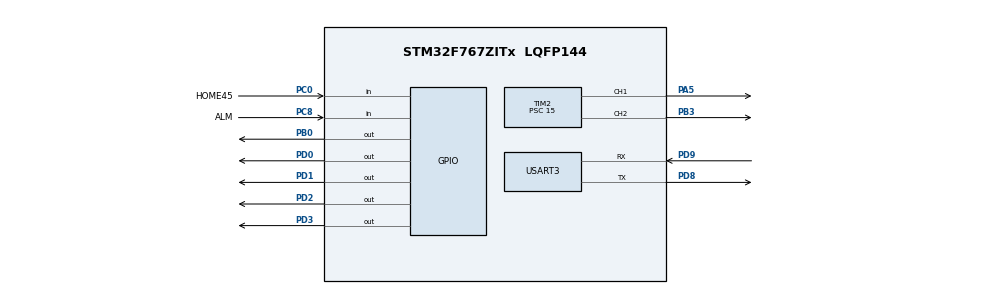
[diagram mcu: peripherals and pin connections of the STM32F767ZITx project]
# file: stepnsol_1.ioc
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CORTEX_M7.default_mode_Activation=1
Mcu.Family=STM32F7
Mcu.Name=STM32F767ZITx
Mcu.Package=LQFP144
NVIC.PriorityGroup=NVIC_PRIORITYGROUP_4
NVIC.TIM2_IRQn=true\:0\:0\:false\:false\:true\:true\:true\:true
NVIC.USART3_IRQn=true\:0\:0\:false\:false\:true\:true\:true\:true
PA13.Mode=Serial_Wire
PA13.Signal=SYS_JTMS-SWDIO
PA14.Mode=Serial_Wire
PA14.Signal=SYS_JTCK-SWCLK
PA5.Signal=S_TIM2_CH1_ETR
PB0.GPIO_PuPd=GPIO_NOPULL
PB0.GPIO_Speed=GPIO_SPEED_FREQ_LOW
PB0.Signal=GPIO_Output
PB3.Signal=S_TIM2_CH2
PC0.GPIO_Label=HOME45
PC0.Signal=GPIO_Input
PC8.GPIO_Label=ALM
PC8.GPIO_PuPd=GPIO_PULLUP
PC8.Signal=GPIO_Input
PD0.GPIO_ModeDefaultOutputPP=GPIO_MODE_OUTPUT_PP
PD0.GPIO_PuPd=GPIO_NOPULL
PD0.GPIO_Speed=GPIO_SPEED_FREQ_LOW
PD0.PinState=GPIO_PIN_RESET
PD0.Signal=GPIO_Output
PD1.GPIO_ModeDefaultOutputPP=GPIO_MODE_OUTPUT_PP
PD1.GPIO_PuPd=GPIO_NOPULL
PD1.GPIO_Speed=GPIO_SPEED_FREQ_LOW
PD1.PinState=GPIO_PIN_RESET
PD1.Signal=GPIO_Output
PD2.GPIO_ModeDefaultOutputPP=GPIO_MODE_OUTPUT_PP
PD2.GPIO_PuPd=GPIO_NOPULL
PD2.GPIO_Speed=GPIO_SPEED_FREQ_LOW
PD2.PinState=GPIO_PIN_RESET
PD2.Signal=GPIO_Output
PD3.GPIO_ModeDefaultOutputPP=GPIO_MODE_OUTPUT_PP
PD3.GPIO_PuPd=GPIO_NOPULL
PD3.GPIO_Speed=GPIO_SPEED_FREQ_LOW
PD3.PinState=GPIO_PIN_RESET
PD3.Signal=GPIO_Output
PD8.Mode=Asynchronous
PD8.Signal=USART3_TX
PD9.Mode=Asynchronous
PD9.Signal=USART3_RX
PH0/OSC_IN.Mode=HSE-External-Clock-Source
PH0/OSC_IN.Signal=RCC_OSC_IN
PH1/OSC_OUT.Mode=HSE-External-Clock-Source
PH1/OSC_OUT.Signal=RCC_OSC_OUT
ProjectManager.HeapSize=0x200
ProjectManager.StackSize=0x400
ProjectManager.TargetToolchain=STM32CubeIDE
RCC.HSE_VALUE=25000000
RCC.HSI_VALUE=16000000
RCC.LSE_VALUE=32768
RCC.USBFreq_Value=96000000
RCC.VCOOutputFreq_Value=192000000
SH.S_TIM2_CH1_ETR.0=TIM2_CH1,PWM Generation1 CH1
SH.S_TIM2_CH2.0=TIM2_CH2,PWM Generation2 CH2
TIM2.Channel-PWM\ Generation1\ CH1=TIM_CHANNEL_1
TIM2.Channel-PWM\ Generation2\ CH2=TIM_CHANNEL_2
TIM2.Period=3999
TIM2.Prescaler=15
USART3.VirtualMode-Asynchronous=VM_ASYNC
board=custom

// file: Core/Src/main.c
/* USER CODE BEGIN Header */
/**
  ******************************************************************************
  * @file           : main.c
  * @brief          : Main program body
  ******************************************************************************
  * @attention
  *
  * Copyright (c) 2026 STMicroelectronics.
  * All rights reserved.
  *
  * This software is licensed under terms that can be found in the LICENSE file
  * in the root directory of this software component.
  * If no LICENSE file comes with this software, it is provided AS-IS.
  *
  ******************************************************************************
  */
/* USER CODE END Header */
#include "main.h"

/* USER CODE BEGIN Includes */
#include <string.h>
#include <stdlib.h>
#include <stdio.h>
/* USER CODE END Includes */

/* USER CODE BEGIN PD */
#define ELEV_MAX_PULSE      950

#define HOME_BACKOFF_STEPS  300
#define HOME_SEARCH_STEPS   1500

#define HOME_EXTRA_BACKOFF_STEPS  300

#define HOME_PHASE_IDLE           0
#define HOME_PHASE_BACKOFF        1
#define HOME_PHASE_EXTRA_BACKOFF  2
#define HOME_PHASE_SEARCH         3
/* USER CODE END PD */

TIM_HandleTypeDef htim2;

UART_HandleTypeDef huart3;

/* USER CODE BEGIN PV */
volatile uint8_t fire_flag = 0;

volatile int32_t m0_pos = 0;
volatile uint8_t m0_homed = 0;
volatile uint8_t m0_homing = 0;
volatile uint8_t m0_home_phase = HOME_PHASE_IDLE;

volatile uint8_t home_done_flag = 0;
volatile uint8_t home_fail_flag = 0;
/* USER CODE END PV */

void SystemClock_Config(void);
static void MPU_Config(void);
static void MX_GPIO_Init(void);
static void MX_TIM2_Init(void);
static void MX_USART3_UART_Init(void);
/* USER CODE BEGIN PFP */

typedef struct {
  volatile uint32_t target_steps;
  volatile uint32_t done_steps;
  volatile uint8_t  running;
  volatile int8_t   dir_sign;   // +1: POS 증가(M0-), -1: POS 감소(M0+)
} StepperState;

static StepperState s0 = {0}, s1 = {0};

static void motor0_start(uint32_t steps, uint8_t dir);

/* -----------------------------------------------------------------------
 * UART 송신 헬퍼
 * ACK/NAK/ERR 응답을 ROS2 로 전송.
 * HAL_UART_Transmit 블로킹(timeout 10ms) — 응답 문자열은 짧으므로 충분.
 * ----------------------------------------------------------------------- */
static void uart_send(const char *msg)
{
    HAL_UART_Transmit(&huart3,
                      (uint8_t *)msg,
                      (uint16_t)strlen(msg),
                      10);
}

static uint8_t home45_read(void)
{
    return (HAL_GPIO_ReadPin(GPIOC, GPIO_PIN_0) == GPIO_PIN_SET) ? 1 : 0;
}

static uint8_t inp_read(void)
{
    /*
     * CS-D508 ALM output = In Position
     * ALM- = GND
     * ALM+ = PC8(ALM_Pin)
     * GPIO internal pull-up 사용
     *
     * 예상 논리:
     *   In Position 활성   → ALM 출력 ON  → GPIO LOW  → INP=1
     *   In Position 비활성 → ALM 출력 OFF → GPIO HIGH → INP=0
     */
    return (HAL_GPIO_ReadPin(ALM_GPIO_Port, ALM_Pin) == GPIO_PIN_RESET) ? 1 : 0;
}

static void home_start_backoff(void)
{
    /*
     * M0- : 랙 길이 증가, 홈에서 벗어나는 방향
     */
    m0_homing = 1;
    m0_home_phase = HOME_PHASE_BACKOFF;
    motor0_start(HOME_BACKOFF_STEPS, 0);  // dir=0 → M0-
}

static void home_start_search(void)
{
    /*
     * M0+ : 랙 길이 감소, 홈으로 접근하는 방향
     */
    m0_homing = 1;
    m0_home_phase = HOME_PHASE_SEARCH;
    motor0_start(HOME_SEARCH_STEPS, 1);   // dir=1 → M0+
}

static void home_start_extra_backoff(void)
{
    /*
     * HOME45=0이 된 뒤에도 M0- 방향으로 조금 더 이동해서
     * 센서 감지 구간을 확실히 벗어난다.
     */
    m0_homing = 1;
    m0_home_phase = HOME_PHASE_EXTRA_BACKOFF;
    motor0_start(HOME_EXTRA_BACKOFF_STEPS, 0);  // dir=0 → M0-
}

static void status_send(void)
{
    char buf[220];

    snprintf(buf, sizeof(buf),
             "POS=%ld HOMED=%u HOMING=%u PHASE=%u M0RUN=%u HOME45=%u INP=%u TARGET=%lu DONE=%lu MAX=%ld\r\n",
             (long)m0_pos,
             (unsigned int)m0_homed,
             (unsigned int)m0_homing,
             (unsigned int)m0_home_phase,
             (unsigned int)s0.running,
             (unsigned int)home45_read(),
             (unsigned int)inp_read(),
             (unsigned long)s0.target_steps,
             (unsigned long)s0.done_steps,
             (long)ELEV_MAX_PULSE);

    uart_send(buf);
}

static void motor0_start(uint32_t steps, uint8_t dir)
{
  s0.target_steps = steps;
  s0.done_steps   = 0;
  s0.running      = 1;
  s0.dir_sign = dir ? -1 : 1;

  /* DIR (dir=1 정방향, 0 역방향) */
  HAL_GPIO_WritePin(GPIOD, GPIO_PIN_0, dir ? GPIO_PIN_SET : GPIO_PIN_RESET);

  /* ENA 활성화 (LOW = enable) */
  HAL_GPIO_WritePin(GPIOD, GPIO_PIN_1, GPIO_PIN_RESET);

  HAL_TIM_PWM_Start(&htim2, TIM_CHANNEL_1);
  HAL_TIM_Base_Start_IT(&htim2);
}

static void motor1_start(uint32_t steps, uint8_t dir)
{
  s1.target_steps = steps;
  s1.done_steps   = 0;
  s1.running      = 1;

  HAL_GPIO_WritePin(GPIOD, GPIO_PIN_2, dir ? GPIO_PIN_SET : GPIO_PIN_RESET);
  HAL_GPIO_WritePin(GPIOD, GPIO_PIN_3, GPIO_PIN_RESET);

  HAL_TIM_PWM_Start(&htim2, TIM_CHANNEL_2);
  HAL_TIM_Base_Start_IT(&htim2);
}

static void motor0_stop(void)
{
  HAL_TIM_PWM_Stop(&htim2, TIM_CHANNEL_1);

  /*
   * 일반 M0 이동일 때만 POS 갱신.
   * HOME0 동작 중에는 센서 감지 후 POS=0으로 직접 설정하므로
   * 여기서 done_steps를 POS에 반영하지 않는다.
   */
  if (s0.running && !m0_homing) {
    if (s0.dir_sign > 0) {
      m0_pos += (int32_t)s0.done_steps;
    } else {
      m0_pos -= (int32_t)s0.done_steps;
    }
  }

  s0.running = 0;
}

static void motor1_stop(void)
{
  HAL_TIM_PWM_Stop(&htim2, TIM_CHANNEL_2);
  s1.running = 0;
}

static uint8_t rx_ch;
static char rx_line[32];
static uint8_t rx_pos = 0;

static void uart_rx_line_reset(void)
{
  rx_pos = 0;
  memset(rx_line, 0, sizeof(rx_line));
}

/* -----------------------------------------------------------------------
 * handle_line : 수신된 한 줄 명령 처리 + ACK/NAK 응답
 *
 * 응답 형식 (ROS2 turret_control_node 와 약속):
 *   ACK M0\n   — M0 명령 정상 처리 시작
 *   ACK M1\n   — M1 명령 정상 처리 시작
 *   ACK STOP\n — STOP 정상 처리
 *   ACK FIRE\n — FIRE 정상 수신 (솔레노이드 구동은 main loop에서)
 *   NAK BUSY\n — 해당 모터가 이미 동작 중
 *   NAK FORMAT\n — 명령 형식 오류 (파싱 불가)
 * ----------------------------------------------------------------------- */
static void handle_line(const char *line)
{
  /* SYNC / FLUSH */
  if (strcmp(line, "SYNC") == 0 || strcmp(line, "FLUSH") == 0) {
	uart_rx_line_reset();
	uart_send("ACK SYNC\n");
	return;
  }

  /* STATUS */
  if (strcmp(line, "STATUS") == 0) {
	status_send();
	return;
  }

  /* ── HOME0 ───────────────────────────────────────────────────────── */
  if (strcmp(line, "HOME0") == 0) {
    if (s0.running) {
      uart_send("NAK BUSY\n");
      return;
    }

    /*
     * HOME0 시작:
     * - 현재 HOME45=1이면 먼저 M0- 방향으로 살짝 빠져서 HOME45=0을 만든다.
     * - 현재 HOME45=0이면 바로 M0+ 방향으로 접근한다.
     */
    m0_homed = 0;
    m0_homing = 1;
    m0_home_phase = HOME_PHASE_IDLE;
    home_done_flag = 0;
    home_fail_flag = 0;

    if (home45_read()) {
      home_start_backoff();
    } else {
      home_start_search();
    }

    uart_send("ACK HOME0\n");
    return;
  }

  /* ── STOP ─────────────────────────────────────────────────────────── */
  if (strcmp(line, "STOP") == 0) {
    motor0_stop();
    motor1_stop();

    if (m0_homing) {
      m0_homing = 0;
      m0_home_phase = HOME_PHASE_IDLE;
      m0_homed = 0;
    }

    uart_send("ACK STOP\n");
    return;
  }

  /* ── FIRE ─────────────────────────────────────────────────────────── */
  if (strcmp(line, "FIRE") == 0) {
    fire_flag = 1;
    uart_send("ACK FIRE\n");
    return;
  }

  /* ── M0 / M1 ──────────────────────────────────────────────────────── */
  if (line[0] == 'M' && (line[1] == '0' || line[1] == '1')) {

    /* 부호 문자 확인 — '+' 또는 '-' 없으면 형식 오류 */
    if (line[2] != '+' && line[2] != '-') {
      uart_send("NAK FORMAT\n");
      return;
    }

    int idx  = line[1] - '0';
    int val  = atoi(line + 2);   /* "+1000" / "-250" 파싱 */

    uint8_t  dir   = (val >= 0) ? 1 : 0;
    uint32_t steps = (val >= 0) ? (uint32_t)val : (uint32_t)(-val);

    if (idx == 0) {
      if (s0.running) {
        uart_send("NAK BUSY\n");
        return;
      }

      /* 소프트웨어 리밋 체크 */
      if (steps > 0) {
        int32_t next_pos;

        if (dir) {
          /* M0+ : 랙 길이 감소, 홈 방향, POS 감소 */
          next_pos = m0_pos - (int32_t)steps;
        } else {
          /* M0- : 랙 길이 증가, 홈에서 멀어지는 방향, POS 증가 */
          next_pos = m0_pos + (int32_t)steps;
        }

        if (next_pos < 0) {
          uart_send("NAK LIMIT_MIN\n");
          return;
        }

        if (next_pos > ELEV_MAX_PULSE) {
          uart_send("NAK LIMIT_MAX\n");
          return;
        }
      }

      /* steps=0 이면 이동 불필요 — ACK만 반환 */
      if (steps > 0) motor0_start(steps, dir);
      uart_send("ACK M0\n");

    } else {  /* idx == 1 */
      if (s1.running) {
        uart_send("NAK BUSY\n");
        return;
      }
      if (steps > 0) motor1_start(steps, dir);
      uart_send("ACK M1\n");
    }
    return;
  }

  /* ── 알 수 없는 명령 ─────────────────────────────────────────────── */
  uart_send("NAK FORMAT\n");
}

/* USER CODE END PFP */

int main(void)
{

  /* MPU Configuration--------------------------------------------------------*/
  MPU_Config();

  /* MCU Configuration--------------------------------------------------------*/

  /* Reset of all peripherals, Initializes the Flash interface and the Systick. */
  HAL_Init();

  /* Configure the system clock */
  SystemClock_Config();

  /* Initialize all configured peripherals */
  MX_GPIO_Init();
  MX_TIM2_Init();
  MX_USART3_UART_Init();
  /* USER CODE BEGIN 2 */

  __HAL_TIM_SET_COMPARE(&htim2, TIM_CHANNEL_1, 2000);
  __HAL_TIM_SET_COMPARE(&htim2, TIM_CHANNEL_2, 2000);

  /* ENA 초기 비활성화 (HIGH = disable) */
  HAL_GPIO_WritePin(GPIOD, GPIO_PIN_1 | GPIO_PIN_3, GPIO_PIN_SET);
  /* DIR 초기값 */
  HAL_GPIO_WritePin(GPIOD, GPIO_PIN_0 | GPIO_PIN_2, GPIO_PIN_SET);

  uart_rx_line_reset();
  HAL_UART_Receive_IT(&huart3, &rx_ch, 1);
  uart_send("BOOT OK\r\n");

  /* USER CODE END 2 */

  /* Infinite loop */
  while (1)
  {

    /* USER CODE BEGIN 3 */
    if (fire_flag) {
      fire_flag = 0;
      HAL_GPIO_WritePin(GPIOB, GPIO_PIN_0, GPIO_PIN_SET);
      HAL_Delay(100);
      HAL_GPIO_WritePin(GPIOB, GPIO_PIN_0, GPIO_PIN_RESET);
    }

    if (home_done_flag) {
      home_done_flag = 0;
      uart_send("DONE HOME0\n");
    }

    if (home_fail_flag) {
      home_fail_flag = 0;
      uart_send("ERR HOME0\n");
    }
  }
  /* USER CODE END 3 */
}

void SystemClock_Config(void)
{
  RCC_OscInitTypeDef RCC_OscInitStruct = {0};
  RCC_ClkInitTypeDef RCC_ClkInitStruct = {0};

  /** Configure the main internal regulator output voltage
  */
  __HAL_RCC_PWR_CLK_ENABLE();
  __HAL_PWR_VOLTAGESCALING_CONFIG(PWR_REGULATOR_VOLTAGE_SCALE3);

  /** Initializes the RCC Oscillators according to the specified parameters
  * in the RCC_OscInitTypeDef structure.
  */
  RCC_OscInitStruct.OscillatorType = RCC_OSCILLATORTYPE_HSI;
  RCC_OscInitStruct.HSIState = RCC_HSI_ON;
  RCC_OscInitStruct.HSICalibrationValue = RCC_HSICALIBRATION_DEFAULT;
  RCC_OscInitStruct.PLL.PLLState = RCC_PLL_NONE;
  if (HAL_RCC_OscConfig(&RCC_OscInitStruct) != HAL_OK)
  {
    Error_Handler();
  }

  /** Initializes the CPU, AHB and APB buses clocks
  */
  RCC_ClkInitStruct.ClockType = RCC_CLOCKTYPE_HCLK|RCC_CLOCKTYPE_SYSCLK
                              |RCC_CLOCKTYPE_PCLK1|RCC_CLOCKTYPE_PCLK2;
  RCC_ClkInitStruct.SYSCLKSource = RCC_SYSCLKSOURCE_HSI;
  RCC_ClkInitStruct.AHBCLKDivider = RCC_SYSCLK_DIV1;
  RCC_ClkInitStruct.APB1CLKDivider = RCC_HCLK_DIV1;
  RCC_ClkInitStruct.APB2CLKDivider = RCC_HCLK_DIV1;

  if (HAL_RCC_ClockConfig(&RCC_ClkInitStruct, FLASH_LATENCY_0) != HAL_OK)
  {
    Error_Handler();
  }
}

static void MX_TIM2_Init(void)
{

  TIM_MasterConfigTypeDef sMasterConfig = {0};
  TIM_OC_InitTypeDef sConfigOC = {0};

  htim2.Instance = TIM2;
  htim2.Init.Prescaler = 15;
  htim2.Init.CounterMode = TIM_COUNTERMODE_UP;
  htim2.Init.Period = 3999;
  htim2.Init.ClockDivision = TIM_CLOCKDIVISION_DIV1;
  htim2.Init.AutoReloadPreload = TIM_AUTORELOAD_PRELOAD_DISABLE;
  if (HAL_TIM_PWM_Init(&htim2) != HAL_OK)
  {
    Error_Handler();
  }
  sMasterConfig.MasterOutputTrigger = TIM_TRGO_RESET;
  sMasterConfig.MasterSlaveMode = TIM_MASTERSLAVEMODE_DISABLE;
  if (HAL_TIMEx_MasterConfigSynchronization(&htim2, &sMasterConfig) != HAL_OK)
  {
    Error_Handler();
  }
  sConfigOC.OCMode = TIM_OCMODE_PWM1;
  sConfigOC.Pulse = 0;
  sConfigOC.OCPolarity = TIM_OCPOLARITY_HIGH;
  sConfigOC.OCFastMode = TIM_OCFAST_DISABLE;
  if (HAL_TIM_PWM_ConfigChannel(&htim2, &sConfigOC, TIM_CHANNEL_1) != HAL_OK)
  {
    Error_Handler();
  }
  if (HAL_TIM_PWM_ConfigChannel(&htim2, &sConfigOC, TIM_CHANNEL_2) != HAL_OK)
  {
    Error_Handler();
  }
  HAL_TIM_MspPostInit(&htim2);

}

static void MX_USART3_UART_Init(void)
{

  huart3.Instance = USART3;
  huart3.Init.BaudRate = 115200;
  huart3.Init.WordLength = UART_WORDLENGTH_8B;
  huart3.Init.StopBits = UART_STOPBITS_1;
  huart3.Init.Parity = UART_PARITY_NONE;
  huart3.Init.Mode = UART_MODE_TX_RX;
  huart3.Init.HwFlowCtl = UART_HWCONTROL_NONE;
  huart3.Init.OverSampling = UART_OVERSAMPLING_16;
  huart3.Init.OneBitSampling = UART_ONE_BIT_SAMPLE_DISABLE;
  huart3.AdvancedInit.AdvFeatureInit = UART_ADVFEATURE_NO_INIT;
  if (HAL_UART_Init(&huart3) != HAL_OK)
  {
    Error_Handler();
  }

}

static void MX_GPIO_Init(void)
{
  GPIO_InitTypeDef GPIO_InitStruct = {0};

  /* GPIO Ports Clock Enable */
  __HAL_RCC_GPIOH_CLK_ENABLE();
  __HAL_RCC_GPIOC_CLK_ENABLE();
  __HAL_RCC_GPIOA_CLK_ENABLE();
  __HAL_RCC_GPIOB_CLK_ENABLE();
  __HAL_RCC_GPIOD_CLK_ENABLE();

  /*Configure GPIO pin Output Level */
  HAL_GPIO_WritePin(GPIOB, GPIO_PIN_0, GPIO_PIN_RESET);

  /*Configure GPIO pin Output Level */
  HAL_GPIO_WritePin(GPIOD, GPIO_PIN_0|GPIO_PIN_1|GPIO_PIN_2|GPIO_PIN_3, GPIO_PIN_RESET);

  /*Configure GPIO pin : HOME45_Pin */
  GPIO_InitStruct.Pin = HOME45_Pin;
  GPIO_InitStruct.Mode = GPIO_MODE_INPUT;
  GPIO_InitStruct.Pull = GPIO_NOPULL;
  HAL_GPIO_Init(HOME45_GPIO_Port, &GPIO_InitStruct);

  /*Configure GPIO pin : PB0 */
  GPIO_InitStruct.Pin = GPIO_PIN_0;
  GPIO_InitStruct.Mode = GPIO_MODE_OUTPUT_PP;
  GPIO_InitStruct.Pull = GPIO_NOPULL;
  GPIO_InitStruct.Speed = GPIO_SPEED_FREQ_LOW;
  HAL_GPIO_Init(GPIOB, &GPIO_InitStruct);

  /*Configure GPIO pin : ALM_Pin */
  GPIO_InitStruct.Pin = ALM_Pin;
  GPIO_InitStruct.Mode = GPIO_MODE_INPUT;
  GPIO_InitStruct.Pull = GPIO_PULLUP;
  HAL_GPIO_Init(ALM_GPIO_Port, &GPIO_InitStruct);

  /*Configure GPIO pins : PD0 PD1 PD2 PD3 */
  GPIO_InitStruct.Pin = GPIO_PIN_0|GPIO_PIN_1|GPIO_PIN_2|GPIO_PIN_3;
  GPIO_InitStruct.Mode = GPIO_MODE_OUTPUT_PP;
  GPIO_InitStruct.Pull = GPIO_NOPULL;
  GPIO_InitStruct.Speed = GPIO_SPEED_FREQ_LOW;
  HAL_GPIO_Init(GPIOD, &GPIO_InitStruct);

}

/* USER CODE BEGIN 4 */

void HAL_TIM_PeriodElapsedCallback(TIM_HandleTypeDef *htim)
{
  if (htim->Instance != TIM2) return;

  if (s0.running) {

    if (m0_homing) {

      /*
       * HOME0 1단계: BACKOFF
       * HOME45=1 상태에서 M0- 방향으로 살짝 빠져나감.
       * HOME45가 0이 되는 순간 멈추고 SEARCH 단계로 전환.
       */
        if (m0_home_phase == HOME_PHASE_BACKOFF) {

          if (!home45_read()) {
            /*
             * HOME45가 0이 된 순간 바로 SEARCH로 가지 않고,
             * 센서 감지 구간을 확실히 벗어나기 위해 추가 backoff 수행.
             */
            motor0_stop();
            home_start_extra_backoff();
          } else {
            s0.done_steps++;

            if (s0.done_steps >= s0.target_steps) {
              motor0_stop();

              m0_homing = 0;
              m0_home_phase = HOME_PHASE_IDLE;
              m0_homed = 0;

              home_fail_flag = 1;
            }
          }
        }
        /*
         * HOME0 1.5단계: EXTRA_BACKOFF
         * HOME45=0이 된 뒤에도 M0- 방향으로 정해진 pulse만큼 더 이동.
         * 이후 M0+ 방향 SEARCH 시작.
         */
        else if (m0_home_phase == HOME_PHASE_EXTRA_BACKOFF) {

          s0.done_steps++;

          if (s0.done_steps >= s0.target_steps) {
            motor0_stop();
            home_start_search();
          }
        }
      /*
       * HOME0 2단계: SEARCH
       * M0+ 방향으로 다시 홈에 접근.
       * HOME45가 1이 되는 첫 순간 정지하고 POS=0 처리.
       */
      else if (m0_home_phase == HOME_PHASE_SEARCH) {

        if (home45_read()) {
          motor0_stop();

          m0_pos = 0;
          m0_homed = 1;
          m0_homing = 0;
          m0_home_phase = HOME_PHASE_IDLE;

          home_done_flag = 1;
        } else {
          s0.done_steps++;

          if (s0.done_steps >= s0.target_steps) {
            motor0_stop();

            m0_homing = 0;
            m0_home_phase = HOME_PHASE_IDLE;
            m0_homed = 0;

            home_fail_flag = 1;
          }
        }
      }

    } else {
      /*
       * 일반 M0 이동
       */
      s0.done_steps++;

      if (s0.done_steps >= s0.target_steps) {
        motor0_stop();
      }
    }
  }

  if (s1.running) {
    s1.done_steps++;
    if (s1.done_steps >= s1.target_steps) {
      motor1_stop();
    }
  }

  /* 둘 다 멈췄으면 타이머 인터럽트도 끄기 (불필요한 인터럽트 방지) */
  if (!s0.running && !s1.running) {
    HAL_TIM_Base_Stop_IT(&htim2);
  }
}

void HAL_UART_RxCpltCallback(UART_HandleTypeDef *huart)
{
  if (huart->Instance != USART3) return;

  char c = (char)rx_ch;

  if (c == '\r' || c == '\n') {
    rx_line[rx_pos] = '\0';

    if (rx_pos > 0) {
      handle_line(rx_line);
    }

    rx_pos = 0;
  } else {
    if (rx_pos < sizeof(rx_line) - 1) {
      rx_line[rx_pos++] = c;
    } else {
      rx_pos = 0;   /* 버퍼 오버플로 → 라인 리셋 */
    }
  }

  HAL_UART_Receive_IT(&huart3, &rx_ch, 1);
}

/* USER CODE END 4 */

 /* MPU Configuration */

void MPU_Config(void)
{
  MPU_Region_InitTypeDef MPU_InitStruct = {0};

  /* Disables the MPU */
  HAL_MPU_Disable();

  /** Initializes and configures the Region and the memory to be protected
  */
  MPU_InitStruct.Enable = MPU_REGION_ENABLE;
  MPU_InitStruct.Number = MPU_REGION_NUMBER0;
  MPU_InitStruct.BaseAddress = 0x0;
  MPU_InitStruct.Size = MPU_REGION_SIZE_4GB;
  MPU_InitStruct.SubRegionDisable = 0x87;
  MPU_InitStruct.TypeExtField = MPU_TEX_LEVEL0;
  MPU_InitStruct.AccessPermission = MPU_REGION_NO_ACCESS;
  MPU_InitStruct.DisableExec = MPU_INSTRUCTION_ACCESS_DISABLE;
  MPU_InitStruct.IsShareable = MPU_ACCESS_SHAREABLE;
  MPU_InitStruct.IsCacheable = MPU_ACCESS_NOT_CACHEABLE;
  MPU_InitStruct.IsBufferable = MPU_ACCESS_NOT_BUFFERABLE;

  HAL_MPU_ConfigRegion(&MPU_InitStruct);
  /* Enables the MPU */
  HAL_MPU_Enable(MPU_PRIVILEGED_DEFAULT);

}

void Error_Handler(void)
{
  __disable_irq();
  while (1)
  {
  }
}
